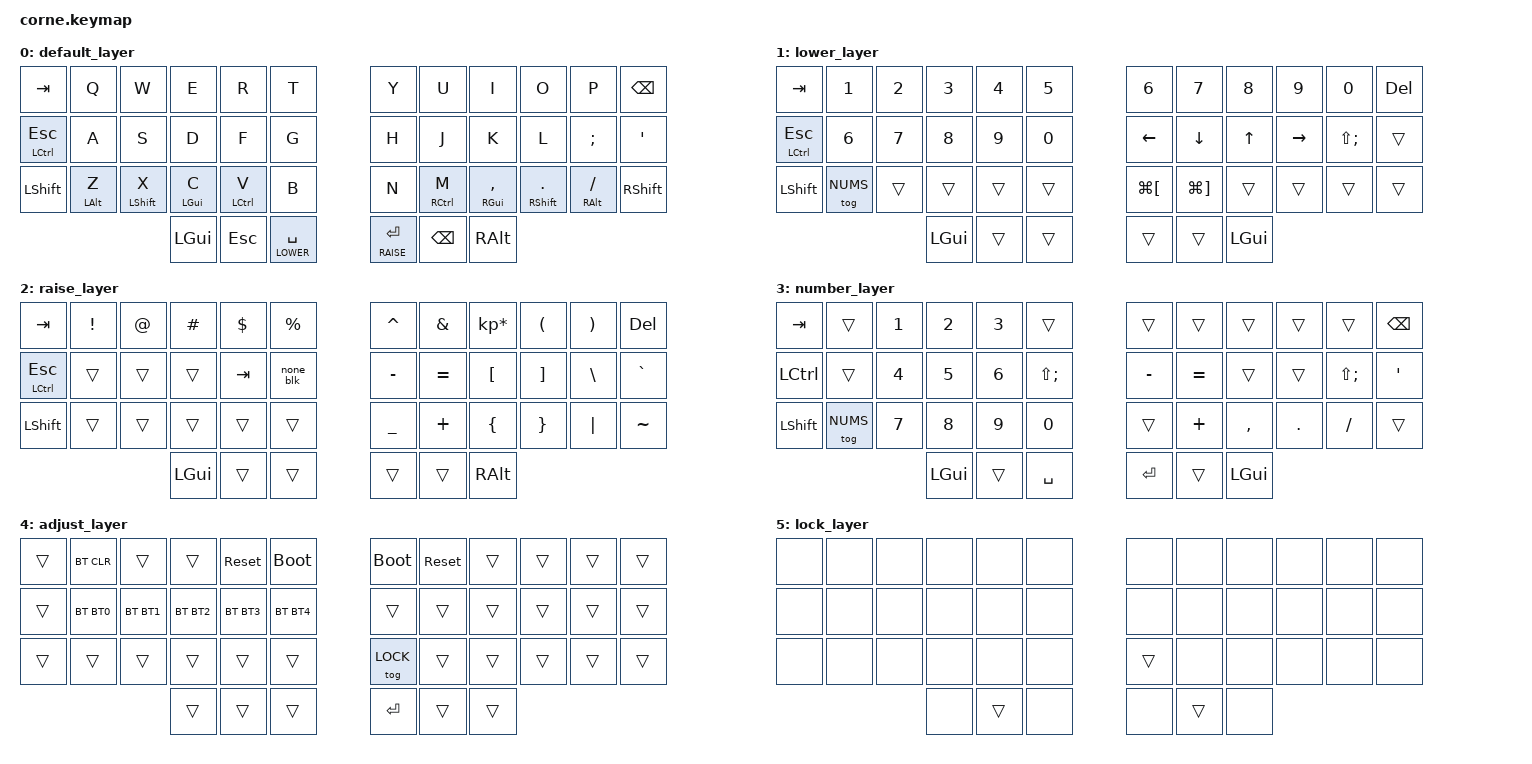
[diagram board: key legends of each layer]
/*
 * Copyright (c) 2020 The ZMK Contributors
 *
 * SPDX-License-Identifier: MIT
 */

#include <behaviors.dtsi>
#include <dt-bindings/zmk/keys.h>
#include <dt-bindings/zmk/bt.h>

#define LOWER 1
#define RAISE 2
#define NUMS 3
#define ADJUST 4
#define LOCK 5

#define BACK C_AC_BACK
#define FWD C_AC_FORWARD
#define PAUSE PAUSE_BREAK
#define VOL_DN C_VOL_DN
#define VOL_UP C_VOL_UP

#define LC_SPC LC(SPACE)
#define ZM_IN LC(EQUAL)
#define ZM_OUT LC(MINUS)
#define ZM_RST LC(N0)

#define BT0 BT_SEL 0
#define BT1 BT_SEL 1
#define BT2 BT_SEL 2
#define BT3 BT_SEL 3
#define BT4 BT_SEL 4


#define HYP LS(LC(LA(LGUI)))
#define HYPER(key) LS(LC(LA(LG(key))))

#define KEYS_L 0 1 2 3 4 5 12 13 14 15 16 17 24 25 26 27 28 29   // left-hand keys
#define KEYS_R 6 7 8 9 10 11 18 19 20 21 22 23 30 31 32 33 34 35 // right-hand keys
#define THUMBS 36 37 38 39 40 41                                 // thumb keys

// &nice_view_spi {
//  cs-gpios = <&pro_micro 0 GPIO_ACTIVE_HIGH>;
// };

&mt {
  retro-tap;
};

&sk {
  //release-after-ms = <2000>;
  quick-release;
  // /delete-property/ ignore-modifiers;
};

&lt {
    quick-tap-ms = <250>;
    tapping-term-ms = <250>;
};

/ {
  conditional_layers {
    compatible = "zmk,conditional-layers";

    tri_layer {
      if-layers = <LOWER RAISE>;
      then-layer = <ADJUST>;
    };
  };
  macros {
    none_blk: none_blk {
      label = "NON_BLOCKING";
      compatible = "zmk,behavior-macro";
      #binding-cells = <0>;
      bindings = <&macro_tap &kp LS(COMMA) &kp EQUAL>;
    };
   cmd_mode: cmd_mode {
      label = "VIM_CMD_MODE";
      compatible = "zmk,behavior-macro";
      #binding-cells = <0>;
      bindings = <&macro_tap &kp ESC &kp LS(SEMI)>;
    };
  };
  combos {
    compatible = "zmk,combos";

    combo_caps {
      timeout-ms = <50>;
      key-positions = <24 35>;
      bindings = <&caps_word>;
    };
    combo_esc { // J+K = ESC
      timeout-ms = <50>;
      key-positions = <19 20>;
      bindings = <&kp ESC>;
    };
    combo_vim_cmd { // ;+' = ESC :
      timeout-ms = <50>;
      key-positions = <22 23>;
      bindings = <&cmd_mode>;
    };
  };

  behaviors {
    hml: home_mode_left {
      compatible = "zmk,behavior-hold-tap";
      label = "HML";
      #binding-cells = <2>;
      flavor = "balanced";
      tapping-term-ms = <280>;
      quick-tap-ms = <175>;                 // repeat on tap-into-hold
      require-prior-idle-ms = <150>;
      bindings = <&kp>, <&kp>;
      hold-trigger-key-positions = <KEYS_R THUMBS>;
      hold-trigger-on-release;              // delay positional check until key-release
    };
    hmr: home_mode_right {
      compatible = "zmk,behavior-hold-tap";
      label = "HMR";
      #binding-cells = <2>;
      flavor = "balanced";
      tapping-term-ms = <280>;
      quick-tap-ms = <175>;                 // repeat on tap-into-hold
      require-prior-idle-ms = <150>;
      bindings = <&kp>, <&kp>;
      hold-trigger-key-positions = <KEYS_L THUMBS>;
      hold-trigger-on-release;              // delay positional check until key-release
    };
  };

  keymap {
    compatible = "zmk,keymap";

 // key positions
 // --------------------------------------------------------------------------------
 //  |  0  |  1  |  2  |  3  |  4  |  5  |     |  6  |  7  |  8  |  9  |  10 |  11 |
 //  |  12 |  13 |  14 |  15 |  16 |  17 |     |  18 |  19 |  20 |  21 |  22 |  23 |
 //  |  24 |  25 |  26 |  27 |  28 |  29 |     |  30 |  31 |  32 |  33 |  34 |  35 |
 //                    |  36 |  37 |  38 |     |  39 |  40 |  41 |

    default_layer {
 // -----------------------------------------------------------------------------------------
 //  |  TAB       |  Q  |  W  |  E  |  R  |  T  |   |  Y  |  U   |  I  |  O  |  /  | BKSP |
 //  | CTRL / ESC |  A  |  S  |  D  |  F  |  G  |   |  H  |  J   |  K  |  L  |  P  |  '   |
 //  | SHFT       |  Z  |  X  |  C  |  V  |  B  |   |  N  |  M   |  ,  |  .  |  ;  | SHFT / ESC |
 //                           | GUI | LWR | SPC |   | ENT | RSE  | ALT |
// |----------|----------|----------|----------|----------|----------|========|----------|----------|----------|----------|----------|----------|
      bindings = <
&kp TAB       &kp Q       &kp W        &kp E       &kp R         &kp T               &kp Y          &kp U          &kp I            &kp O          &kp P          &kp BSPC
&mt LCTRL ESC &kp A       &kp S        &kp D       &kp F         &kp G               &kp H          &kp J          &kp K            &kp L          &kp SEMI       &kp SQT
&kp LSHFT     &hml LALT Z &hml LSHFT X &hml LGUI C &hml LCTRL V  &kp B               &kp N          &hmr RCTRL M   &hmr RGUI COMMA  &hmr RSHFT DOT &hmr RALT FSLH &kp RSHFT
                                       &kp LGUI    &kp ESC       &lt LOWER SPACE     &lt RAISE RET  &kp BSPC       &kp RALT
                                       // &kp LGUI    &lt LOWER ESC &lt LOWER SPACE     &lt RAISE RET  &lt RAISE BSPC &kp RALT
>;
    // &kp LSHFT  &kp Z      &kp X      &kp C      &kp V      &kp B               &kp N      &kp M      &kp COMMA  &kp DOT    &kp FSLH   &mt RSHFT ESC
                                     // &kp LGUI   &mo 1      &kp SPACE           &kp RET    &mo 2      &kp RALT
    };
    lower_layer {
 // -----------------------------------------------------------------------------------------
 //  |  TAB       |  1    |  2  |  3  |  4  |  5  |   |  6  |  7  |  8  |  9  |  0  | BKSP |
 //  | CTRL / ESC |       |     |     |     |     |   | LFT | DWN |  UP | RGT |     |      |
 //  | SHFT       |       |     |     |     |     |   |     |     |     |     |     |      |
 //                             | GUI |     | SPC |   | ENT |     | ALT |
// |----------|----------|----------|----------|----------|----------|========|----------|----------|----------|----------|----------|----------|
      bindings = <
    &kp TAB    &kp N1     &kp N2     &kp N3     &kp N4     &kp N5              &kp N6       &kp N7       &kp N8     &kp N9     &kp N0       &kp DEL
 &mt LCTRL ESC &kp N6     &kp N7     &kp N8     &kp N9     &kp N0              &kp LEFT     &kp DOWN     &kp UP     &kp RIGHT  &kp LS(SEMI) &trans
    &kp LSHFT  &tog NUMS  &trans     &trans     &trans     &trans              &kp LG(LBKT) &kp LG(RBKT) &trans     &trans     &trans       &trans
                                     &kp LGUI   &trans     &trans              &trans      &trans       &kp LGUI
      >;
    };

// &mt LCTRL ESC &trans &trans &trans &trans &trans   &kp LEFT &kp DOWN &kp UP &kp RIGHT &kp LA(LG(LEFT)) &kp LA(LG(RIGHT))
    raise_layer {
// -----------------------------------------------------------------------------------------
// |  TAB       |  !  |  @  |  #  |  $  |  %  |   |  ^  |  &  |  *  |  (  |  )  | BKSP |
// | CTRL / ESC |     |     |     |     |     |   |  -  |  =  |  [  |  ]  |  \  |  `   |
// | SHFT       |     |     |     |     |     |   |  _  |  +  |  {  |  }  | "|" |  ~   |
//                          | GUI |     | SPC |   | ENT |     | ALT |
// |----------|----------|----------|----------|----------|----------|========|----------|----------|----------|----------|----------|----------|
      bindings = <
    &kp TAB    &kp EXCL   &kp AT     &kp HASH   &kp DLLR   &kp PRCNT           &kp CARET  &kp AMPS   &kp KP_MULTIPLY &kp LPAR &kp RPAR &kp DEL
 &mt LCTRL ESC &trans     &trans     &trans     &kp TAB    &none_blk           &kp MINUS  &kp EQUAL  &kp LBKT   &kp RBKT   &kp BSLH   &kp GRAVE
    &kp LSHFT  &trans     &trans     &trans     &trans     &trans              &kp UNDER  &kp PLUS   &kp LBRC   &kp RBRC   &kp PIPE   &kp TILDE
                                     &kp LGUI   &trans     &trans              &trans    &trans     &kp RALT
      >;
    };
    number_layer {
// -----------------------------------------------------------------------------------------
// |  TAB |  1  |  2  |  3  |  4  |  5  |   |  6  |  7  |  8  |  9  |  0  | BKSP |
// | BTCLR| BT1 | BT2 | BT3 | BT4 | BT5 |   | LFT | DWN |  UP | RGT |     |      |
// | SHFT |     |     |     |     |     |   |     |     |     |     |     |      |
//                    | GUI |     | SPC |   | ENT |     | ALT |
// |----------|----------|----------|----------|----------|----------|========|----------|----------|----------|----------|----------|----------|
      bindings = <
    &kp TAB    &trans     &kp N1     &kp N2     &kp N3     &trans              &trans     &trans     &trans     &trans     &trans       &kp BSPC
    &kp LCTRL  &trans     &kp N4     &kp N5     &kp N6     &kp LS(SEMI)        &kp MINUS  &kp EQUAL  &trans     &trans     &kp LS(SEMI) &kp SQT
    &kp LSHFT  &tog NUMS  &kp N7     &kp N8     &kp N9     &kp N0              &trans     &kp PLUS   &kp COMMA  &kp DOT    &kp FSLH     &trans
                                     &kp LGUI   &trans     &kp SPACE           &kp RET    &trans     &kp LGUI
      >;
    };
    adjust_layer {
// |----------|----------|----------|----------|----------|----------|========|----------|----------|----------|----------|----------|----------|
      bindings = <
    &trans     &bt BT_CLR &trans     &trans     &sys_reset &bootloader         &bootloader &sys_reset &trans     &trans     &trans     &trans
    &trans     &bt BT0    &bt BT1    &bt BT2    &bt BT3    &bt BT4             &trans      &trans     &trans     &trans     &trans     &trans
    &trans     &trans     &trans     &trans     &trans     &trans              &tog LOCK   &trans     &trans     &trans     &trans     &trans
                                     &trans     &trans     &trans              &kp RET     &trans     &trans
      >;
  };
// The Lower+Raise+N binding toggles a "soft lock" mode that effective disables
// other keys, allowing the keyboard to be transported without spurious key presses. (Note
// that the Lower, Raise, and Backspace positions must be bound to &trans to allow the lock
// layer to be toggled again after it's activated.)
//
// If https://github.com/zmkfirmware/zmk/issues/405 is implemented, this layer can be
// replaced by a native behavior in the future.
    lock_layer {
// |----------|----------|----------|----------|----------|----------|--------|----------|----------|----------|----------|----------|----------|
      bindings = <
    &none      &none      &none      &none      &none      &none               &none      &none      &none      &none      &none      &none
    &none      &none      &none      &none      &none      &none               &none      &none      &none      &none      &none      &none
    &none      &none      &none      &none      &none      &none               &trans     &none      &none      &none      &none      &none
                                     &none      &trans     &none               &none      &trans     &none
      >;
    };
  };
};
